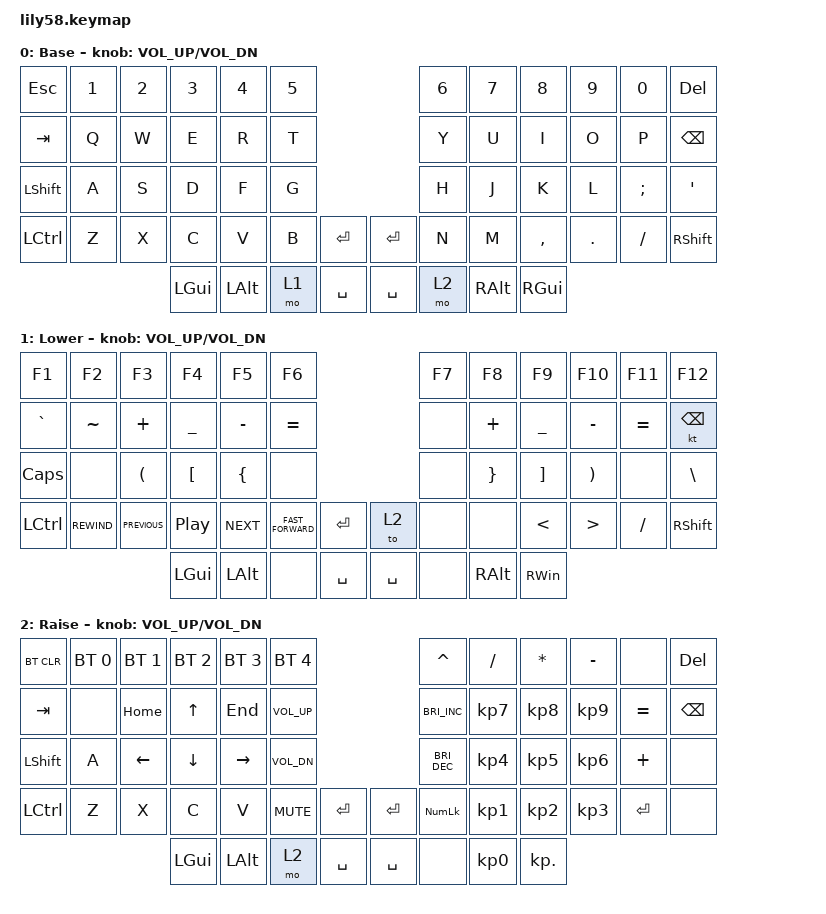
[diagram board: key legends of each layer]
/*
 * Copyright (c) 2020 The ZMK Contributors
 *
 * SPDX-License-Identifier: MIT
 */

#include <behaviors.dtsi>
#include <dt-bindings/zmk/bt.h>
#include <dt-bindings/zmk/keys.h>

/ {
    keymap {
        compatible = "zmk,keymap";

        default_layer {
            // ------------------------------------------------------------------------------------------------------------
            // |  ESC  |  1  |  2  |  3   |  4   |  5   |                   |  6   |  7    |  8    |  9   |   0   |   `   |
            // |  TAB  |  Q  |  W  |  E   |  R   |  T   |                   |  Y   |  U    |  I    |  O   |   P   |   -   |
            // |  CTRL |  A  |  S  |  D   |  F   |  G   |                   |  H   |  J    |  K    |  L   |   ;   |   '   |
            // | SHIFT |  Z  |  X  |  C   |  V   |  B   |   "["  |  |  "]"  |  N   |  M    |  ,    |  .   |   /   | SHIFT |
            //                     | ALT  | GUI  | LOWER|  SPACE |  | ENTER | RAISE| BSPC  | GUI   |

            display-name = "Base";
            bindings = <
&kp ESCAPE      &kp N1  &kp N2  &kp N3        &kp N4        &kp N5                          &kp N6  &kp N7         &kp N8     &kp N9   &kp N0    &kp DELETE
&kp TAB         &kp Q   &kp W   &kp E         &kp R         &kp T                           &kp Y   &kp U          &kp I      &kp O    &kp P     &kp BACKSPACE
&kp LEFT_SHIFT  &kp A   &kp S   &kp D         &kp F         &kp G                           &kp H   &kp J          &kp K      &kp L    &kp SEMI  &kp SQT
&kp LCTRL       &kp Z   &kp X   &kp C         &kp V         &kp B   &kp RET      &kp RET    &kp N   &kp M          &kp COMMA  &kp DOT  &kp FSLH  &kp RSHFT
                                &kp LEFT_GUI  &kp LEFT_ALT  &mo 1   &kp SPACE    &kp SPACE  &mo 2   &kp RIGHT_ALT  &kp RGUI
            >;

            sensor-bindings = <&inc_dec_kp C_VOL_UP C_VOL_DN>;
        };

        lower_layer {
            // ------------------------------------------------------------------------------------------------------------
            // | BTCLR | BT1 | BT2 |  BT3 |  BT4 |  BT5 |                   |      |       |       |      |       |       |
            // |  F1   |  F2 |  F3 |  F4  |  F5  |  F6  |                   |  F7  |  F8   |  F9   |  F10 |  F11  |  F12  |
            // |   `   |  !  |  @  |  #   |  $   |  %   |                   |  ^   |  &    |  *    |  (   |   )   |   ~   |
            // |       |     |     |      |      |      |        |  |       |      |  _    |  +    |  {   |   }   |  "|"  |
            //                     |      |      |      |        |  |       |      |       |       |

            display-name = "Lower";
            bindings = <
&kp F1     &kp F2        &kp F3                &kp F4            &kp F5          &kp F6                                      &kp F7  &kp F8           &kp F9             &kp F10                &kp F11    &kp F12
&kp GRAVE  &kp TILDE     &kp PLUS              &kp UNDER         &kp MINUS       &kp EQUAL                                   &none   &kp PLUS         &kp UNDER          &kp MINUS              &kp EQUAL  &kt BACKSPACE
&kp CAPS   &none         &kp LEFT_PARENTHESIS  &kp LEFT_BRACKET  &kp LEFT_BRACE  &none                                       &none   &kp RIGHT_BRACE  &kp RIGHT_BRACKET  &kp RIGHT_PARENTHESIS  &none      &kp BSLH
&kp LCTRL  &kp C_REWIND  &kp C_PREVIOUS        &kp C_PLAY_PAUSE  &kp C_NEXT      &kp C_FAST_FORWARD  &kp ENTER    &to 2      &none   &none            &kp LESS_THAN      &kp GREATER_THAN       &kp FSLH   &kp RSHIFT
                                               &kp LEFT_GUI      &kp LEFT_ALT    &none               &kp SPACE    &kp SPACE  &none   &kp RIGHT_ALT    &kp RIGHT_WIN
            >;

            sensor-bindings = <&inc_dec_kp C_VOL_UP C_VOL_DN>;
        };

        raise_layer {
            // ------------------------------------------------------------------------------------------------------------
            // |       |     |     |      |      |      |                   |      |       |       |      |       |       |
            // |   `   |  1  |  2  |  3   |  4   |  5   |                   |  6   |   7   |   8   |  9   |   0   |       |
            // |   F1  |  F2 |  F3 |  F4  |  F5  |  F6  |                   |      |   <-  |   v   |  ^   |  ->   |       |
            // |   F7  |  F8 |  F9 |  F10 |  F11 |  F12 |        |  |       |  +   |   -   |   =   |  [   |   ]   |   \   |
            //                     |      |      |      |        |  |       |      |       |       |

            display-name = "Raise";
            bindings = <
&bt BT_CLR      &bt BT_SEL 0  &bt BT_SEL 1  &bt BT_SEL 2  &bt BT_SEL 3  &bt BT_SEL 4                             &kp CARET             &kp SLASH        &kp ASTERISK     &kp MINUS        &none      &kp DELETE
&kp TAB         &none         &kp HOME      &kp UP        &kp END       &kp C_VOLUME_UP                          &kp C_BRIGHTNESS_INC  &kp KP_NUMBER_7  &kp KP_NUMBER_8  &kp KP_NUMBER_9  &kp EQUAL  &kp BACKSPACE
&kp LEFT_SHIFT  &kp A         &kp LEFT      &kp DOWN      &kp RIGHT     &kp C_VOL_DN                             &kp C_BRIGHTNESS_DEC  &kp KP_NUMBER_4  &kp KP_NUMBER_5  &kp KP_NUMBER_6  &kp PLUS   &none
&kp LCTRL       &kp Z         &kp X         &kp C         &kp V         &kp C_MUTE       &kp ENTER    &kp ENTER  &kp KP_NUMLOCK        &kp KP_NUMBER_1  &kp KP_N2        &kp KP_NUMBER_3  &kp ENTER  &none
                                            &kp LGUI      &kp LALT      &mo 2            &kp SPACE    &kp SPACE  &none                 &kp KP_NUMBER_0  &kp KP_DOT
            >;

            sensor-bindings = <&inc_dec_kp C_VOL_UP C_VOL_DN>;
        };

        extra_1 { status = "reserved"; };

        extra_2 { status = "reserved"; };

        extra_3 { status = "reserved"; };
    };
};
